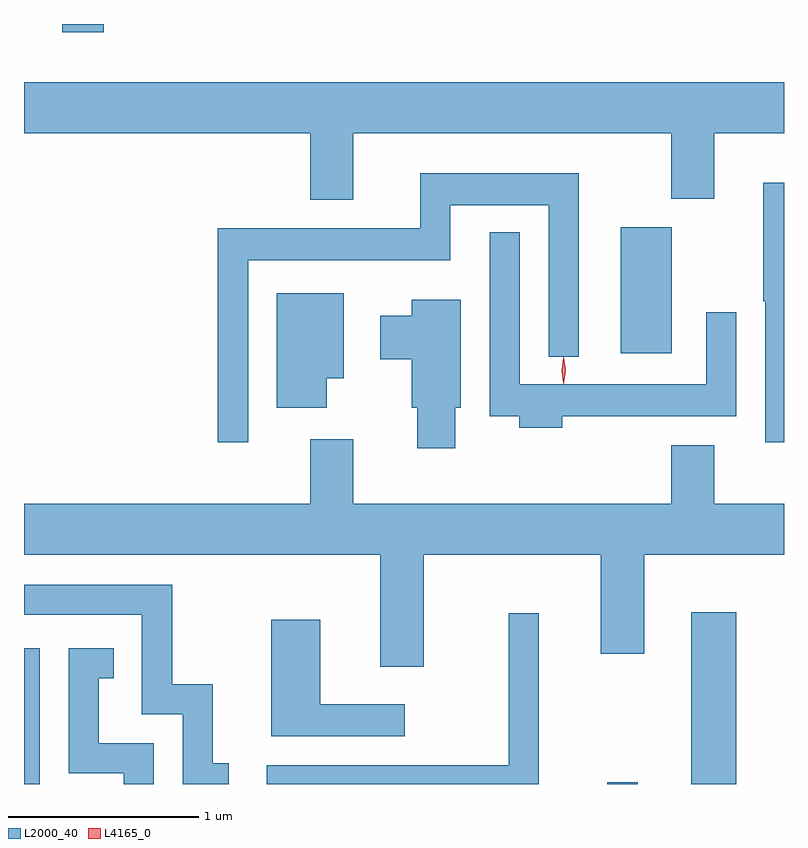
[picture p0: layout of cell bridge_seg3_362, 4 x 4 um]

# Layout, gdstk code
import gdstk
lib = gdstk.Library(unit=1e-6, precision=1e-09)
def R(c, l, rs):  # rectangles x0, y0, x1, y1
    for r in rs: c.add(gdstk.rectangle(r[:2], r[2:], *l))
def P(c, l, *ps):  # polygons
    for p in ps: c.add(gdstk.Polygon(p, *l))
L2000_40 = (2000, 40)
L4165_0 = (4165, 0)

bridge_seg3_362 = lib.new_cell('bridge_seg3_362')
R(bridge_seg3_362, L2000_40, [(695.335,1120.37,695.419,1121.084), (698.406,1120.37,698.564,1120.378), (698.846,1120.37,699.084,1121.274), (698.476,1122.636,698.744,1123.299), (695.536,1124.326,695.754,1124.37)])
P(bridge_seg3_362, L2000_40, [(697.069,1123.796),(698.741,1123.796),(698.741,1123.451),(698.969,1123.451),(698.969,1123.796),(699.335,1123.796),(699.335,1124.064),(695.335,1124.064),(695.335,1123.796),(696.841,1123.796),(696.841,1123.446),(697.069,1123.446)],
  [(696.514,1123.126),(697.579,1123.126),(697.579,1123.416),(698.096,1123.416),(698.096,1122.618),(698.254,1122.618),(698.254,1123.584),(697.421,1123.584),(697.421,1123.294),(696.356,1123.294),(696.356,1122.168),(696.514,1122.168)],
  [(699.335,1123.534),(699.226,1123.534),(699.226,1122.91),(699.236,1122.91),(699.236,1122.168),(699.335,1122.168)],
  [(698.169,1122.306),(699.084,1122.306),(699.084,1122.853),(698.926,1122.853),(698.926,1122.474),(697.944,1122.474),(697.944,1123.273),(697.786,1123.273),(697.786,1122.306),(697.941,1122.306),(697.941,1122.246),(698.169,1122.246)],
  [(696.929,1122.506),(697.019,1122.506),(697.019,1122.954),(696.666,1122.954),(696.666,1122.351),(696.929,1122.351)],
  [(697.604,1122.351),(697.634,1122.351),(697.634,1122.919),(697.376,1122.919),(697.376,1122.834),(697.211,1122.834),(697.211,1122.606),(697.376,1122.606),(697.376,1122.351),(697.406,1122.351),(697.406,1122.136),(697.604,1122.136)],
  [(697.439,1121.576),(698.371,1121.576),(698.371,1121.056),(698.599,1121.056),(698.599,1121.576),(699.335,1121.576),(699.335,1121.844),(698.969,1121.844),(698.969,1122.154),(698.741,1122.154),(698.741,1121.844),(697.069,1121.844),(697.069,1122.184),(696.841,1122.184),(696.841,1121.844),(695.335,1121.844),(695.335,1121.576),(697.211,1121.576),(697.211,1120.986),(697.439,1120.986)],
  [(696.413,1120.479),(696.329,1120.479),(696.329,1120.894),(696.114,1120.894),(696.114,1121.419),(695.335,1121.419),(695.335,1121.261),(695.956,1121.261),(695.956,1120.736),(696.171,1120.736),(696.171,1120.37),(696.413,1120.37)],
  [(698.044,1121.268),(697.886,1121.268),(697.886,1120.469),(696.613,1120.469),(696.613,1120.37),(698.044,1120.37)],
  [(697.338,1120.789),(696.894,1120.789),(696.894,1121.234),(696.636,1121.234),(696.636,1120.621),(697.338,1120.621)],
  [(696.019,1120.584),(695.729,1120.584),(695.729,1120.926),(695.808,1120.926),(695.808,1121.084),(695.571,1121.084),(695.571,1120.426),(695.861,1120.426),(695.861,1120.37),(696.019,1120.37)])
P(bridge_seg3_362, L4165_0, [(698.174,1122.479),(698.174,1122.48),(698.164,1122.546),(698.174,1122.612),(698.174,1122.613),(698.175,1122.612),(698.184,1122.546),(698.175,1122.48)],
  [(698.175,1122.477),(698.166,1122.547),(698.175,1122.616),(698.176,1122.616),(698.176,1122.616),(698.186,1122.547),(698.176,1122.477),(698.176,1122.477)])

lib.write_gds('bridge_seg3_362.gds')
